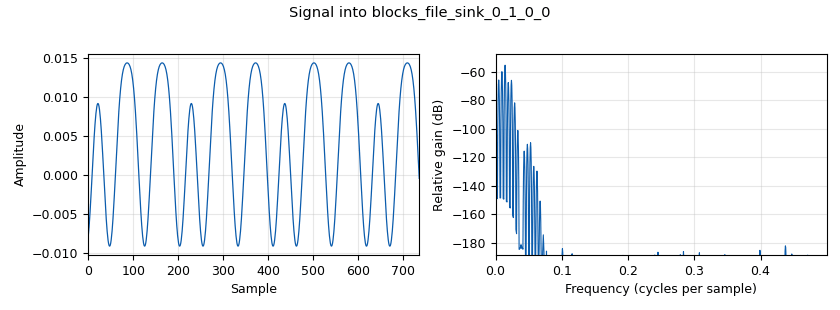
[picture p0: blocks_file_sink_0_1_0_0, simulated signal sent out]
options:
  parameters:
    generate_options: qt_gui
    id: Transofrmer
    output_language: python
    title: Not titled yet
  states: {}

blocks:
- name: bitrate
  id: variable
  parameters:
    value: '19200'
  states: {}
- name: samp_rate
  id: variable
  parameters:
    value: '500000'
  states: {}
- name: sps
  id: variable
  parameters:
    value: int(samp_rate/bitrate)
  states: {}
- name: analog_quadrature_demod_cf_0
  id: analog_quadrature_demod_cf
  parameters:
    gain: (3.14/2)/(sps)
  states: {state: disabled}
- name: analog_quadrature_demod_cf_0_0
  id: analog_quadrature_demod_cf
  parameters:
    gain: (3.14/2)/(sps)
  states: {state: disabled}
- name: analog_quadrature_demod_cf_0_1
  id: analog_quadrature_demod_cf
  parameters:
    gain: (3.14/2)/(sps)
  states: {}
- name: blocks_file_sink_0_1
  id: blocks_file_sink
  parameters:
    file: D:\GNURADIO_THESIS_MASTER\CorrelationwithDelfiBoard\Demodsignalsent
    type: float
  states: {state: disabled}
- name: blocks_file_sink_0_1_0
  id: blocks_file_sink
  parameters:
    file: D:\GNURADIO_THESIS_MASTER\CorrelationwithDelfiBoard\DemodsignalReceived
    type: float
  states: {state: disabled}
- name: blocks_file_sink_0_1_0_0
  id: blocks_file_sink
  parameters:
    file: D:\GNURADIO_THESIS_MASTER\CorrelationwithDelfiBoard\DelfiPQHeader
    type: float
  states: {}
- name: blocks_file_source_0
  id: blocks_file_source
  parameters:
    file: D:\\GNURADIO_THESIS_MASTER\\CorrelationwithDelfiBoard\\SentSignals5
    repeat: 'False'
    type: complex
  states: {state: disabled}
- name: blocks_file_source_1
  id: blocks_file_source
  parameters:
    file: D:\GNURADIO_THESIS_MASTER\CorrelationwithDelfiBoard\ReceivedSignals3
    repeat: 'False'
    type: complex
  states: {state: disabled}
- name: blocks_throttle2_0
  id: blocks_throttle2
  parameters:
    samples_per_second: samp_rate
    type: complex
  states: {state: disabled}
- name: blocks_vector_source_x_0
  id: blocks_vector_source_x
  parameters:
    repeat: 'False'
    type: byte
    vector: (173, 173, 173, 173, 173, 173, 173, 173, 173, 173)
  states: {}
- name: digital_gfsk_mod_2
  id: digital_gfsk_mod
  parameters:
    bt: '0.35'
    samples_per_symbol: sps
    sensitivity: 2*3.14/sps
  states: {}
- name: low_pass_filter_0
  id: low_pass_filter
  parameters:
    cutoff_freq: 5000*8
    decim: '1'
    gain: '1'
    samp_rate: samp_rate
    type: fir_filter_ccf
    width: 2500*8
    win: window.WIN_HAMMING
  states: {state: disabled}

connections:
- [analog_quadrature_demod_cf_0, '0', blocks_file_sink_0_1, '0']
- [analog_quadrature_demod_cf_0_0, '0', blocks_file_sink_0_1_0, '0']
- [analog_quadrature_demod_cf_0_1, '0', blocks_file_sink_0_1_0_0, '0']
- [blocks_file_source_0, '0', blocks_throttle2_0, '0']
- [blocks_file_source_1, '0', low_pass_filter_0, '0']
- [blocks_throttle2_0, '0', analog_quadrature_demod_cf_0, '0']
- [blocks_vector_source_x_0, '0', digital_gfsk_mod_2, '0']
- [digital_gfsk_mod_2, '0', analog_quadrature_demod_cf_0_1, '0']
- [low_pass_filter_0, '0', analog_quadrature_demod_cf_0_0, '0']

metadata:
  file_format: 1
  grc_version: 3.10.6.0
